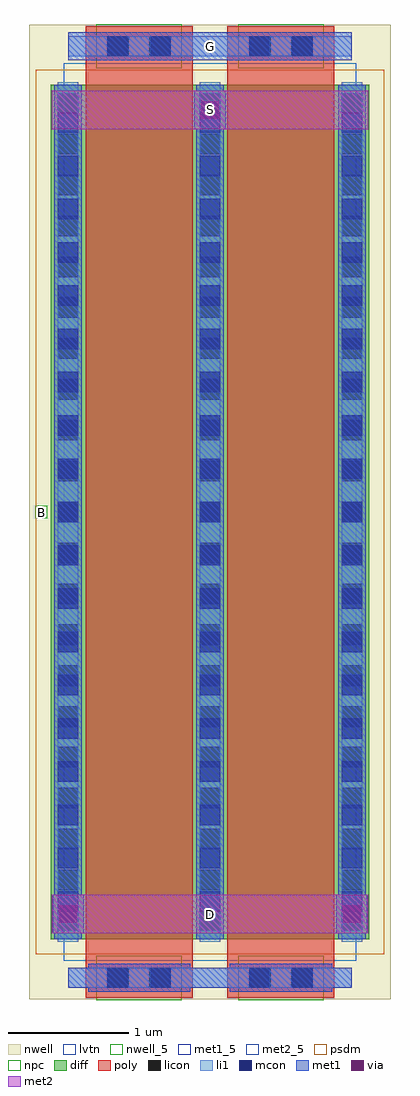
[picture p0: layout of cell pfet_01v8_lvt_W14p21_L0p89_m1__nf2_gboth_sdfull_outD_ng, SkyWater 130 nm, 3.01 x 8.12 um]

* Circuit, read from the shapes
.subckt pfet_01v8_lvt_W14p21_L0p89_m1__nf2_gboth_sdfull_outD_ng B D G S
XM1 S G D B sky130_fd_pr__pfet_01v8_lvt w=7.11 l=0.89 m=2
.ends

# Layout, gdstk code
import gdstk
lib = gdstk.Library(unit=1e-6, precision=1e-09)
def R(c, l, rs):  # rectangles x0, y0, x1, y1
    for r in rs: c.add(gdstk.rectangle(r[:2], r[2:], *l))
def A(c, l, x, y, w, h, nx, ny, dx, dy):  # array of equal rectangles
    R(c, l, [(x+i*dx, y+j*dy, x+i*dx+w, y+j*dy+h) for i in range(nx) for j in range(ny)])
nwell_5 = (64, 5)
nwell = (64, 20)
diff = (65, 20)
poly = (66, 20)
licon = (66, 44)
li1 = (67, 20)
mcon = (67, 44)
met1_5 = (68, 5)
met1 = (68, 20)
via = (68, 44)
met2_5 = (69, 5)
met2 = (69, 20)
psdm = (94, 20)
npc = (95, 20)
lvtn = (125, 44)

sky130_fd_pr__pfet_01v8_ = lib.new_cell('sky130_fd_pr__pfet_01v8_lvt_ZLA3LR')
R(sky130_fd_pr__pfet_01v8_, nwell, [(-1.505,-4.055,1.505,4.055)])
R(sky130_fd_pr__pfet_01v8_, diff, [(-1.325,-3.555,1.325,3.555)])
R(sky130_fd_pr__pfet_01v8_, poly, [(-1.035,-4.04,-0.145,4.04), (0.145,-4.04,1.035,4.04)])
A(sky130_fd_pr__pfet_01v8_, licon, -1.265, -3.485, 0.17, 0.17, 3, 21, 1.18, 0.34)
R(sky130_fd_pr__pfet_01v8_, licon, [(-0.845,-3.96,-0.675,-3.79), (-0.505,-3.96,-0.335,-3.79), (0.335,-3.96,0.505,-3.79), (0.675,-3.96,0.845,-3.79), (-0.845,3.79,-0.675,3.96), (-0.505,3.79,-0.335,3.96), (0.335,3.79,0.505,3.96), (0.675,3.79,0.845,3.96)])
A(sky130_fd_pr__pfet_01v8_, li1, -1.265, -3.575, 0.17, 7.15, 3, 1, 1.18, 0)
R(sky130_fd_pr__pfet_01v8_, li1, [(-1.18,-3.96,1.18,-3.79), (-1.18,3.79,1.18,3.96)])
A(sky130_fd_pr__pfet_01v8_, mcon, -1.265, -3.325, 0.17, 0.17, 3, 19, 1.18, 0.36)
R(sky130_fd_pr__pfet_01v8_, mcon, [(-0.855,-3.96,-0.685,-3.79), (-0.495,-3.96,-0.325,-3.79), (0.325,-3.96,0.495,-3.79), (0.685,-3.96,0.855,-3.79), (-0.855,3.79,-0.685,3.96), (-0.495,3.79,-0.325,3.96), (0.325,3.79,0.495,3.96), (0.685,3.79,0.855,3.96)])
A(sky130_fd_pr__pfet_01v8_, met1, -1.295, -3.555, 0.23, 7.11, 3, 1, 1.18, 0)
R(sky130_fd_pr__pfet_01v8_, met1, [(-1.015,-3.99,-0.165,-3.96), (0.165,-3.99,1.015,-3.96), (-1.18,-3.96,1.18,-3.79), (-1.015,-3.79,-0.165,-3.76), (0.165,-3.79,1.015,-3.76), (-1.015,3.76,-0.165,3.79), (0.165,3.76,1.015,3.79), (-1.18,3.79,1.18,3.96), (-1.015,3.96,-0.165,3.99), (0.165,3.96,1.015,3.99)])
R(sky130_fd_pr__pfet_01v8_, psdm, [(-1.45,-3.68,1.45,3.68)])
R(sky130_fd_pr__pfet_01v8_, npc, [(-0.945,-4.06,-0.235,-3.69), (0.235,-4.06,0.945,-3.69), (-0.945,3.69,-0.235,4.06), (0.235,3.69,0.945,4.06)])
R(sky130_fd_pr__pfet_01v8_, lvtn, [(-1.215,-3.735,1.215,3.735)])
sky130_fd_pr__pfet_01v8_.add(gdstk.Label('D0', (-1.18,0), layer=67, texttype=5))
sky130_fd_pr__pfet_01v8_.add(gdstk.Label('G', (0.59,3.875), layer=67, texttype=5))
sky130_fd_pr__pfet_01v8_.add(gdstk.Label('G', (-0.59,3.875), layer=67, texttype=5))
sky130_fd_pr__pfet_01v8_.add(gdstk.Label('S1', (0,0), layer=67, texttype=5))

pfet_01v8_lvt_w14p21_l0p = lib.new_cell('pfet_01v8_lvt_W14p21_L0p89_m1__nf2_gboth_sdfull_outD_ng')
R(pfet_01v8_lvt_w14p21_l0p, nwell_5, [(0.05,4.005,0.15,4.105)])
R(pfet_01v8_lvt_w14p21_l0p, nwell, [(0.05,4.005,0.15,4.105)])
R(pfet_01v8_lvt_w14p21_l0p, met1_5, [(0.325,7.815,2.685,8.045)])
R(pfet_01v8_lvt_w14p21_l0p, met1, [(0.195,0.55,0.455,0.87), (2.555,0.55,2.815,0.87), (1.375,7.24,1.635,7.56), (0.325,7.815,2.685,8.045)])
R(pfet_01v8_lvt_w14p21_l0p, via, [(0.25,0.635,0.4,0.785), (2.61,0.635,2.76,0.785), (1.43,7.325,1.58,7.475)])
R(pfet_01v8_lvt_w14p21_l0p, met2_5, [(0.19,0.55,2.82,0.87), (0.19,7.24,2.82,7.56)])
R(pfet_01v8_lvt_w14p21_l0p, met2, [(0.19,0.55,2.82,0.87), (0.19,7.24,2.82,7.56)])
pfet_01v8_lvt_w14p21_l0p.add(gdstk.Reference(sky130_fd_pr__pfet_01v8_, (1.505,4.055)))
pfet_01v8_lvt_w14p21_l0p.add(gdstk.Label('S', (1.505,7.4), layer=69, texttype=5))
pfet_01v8_lvt_w14p21_l0p.add(gdstk.Label('D', (1.505,0.71), layer=69, texttype=5))
pfet_01v8_lvt_w14p21_l0p.add(gdstk.Label('G', (1.505,7.93), layer=68, texttype=5))
pfet_01v8_lvt_w14p21_l0p.add(gdstk.Label('B', (0.1,4.055), layer=64, texttype=5))

lib.write_gds('pfet_01v8_lvt_W14p21_L0p89_m1__nf2_gboth_sdfull_outD_ng.gds')
